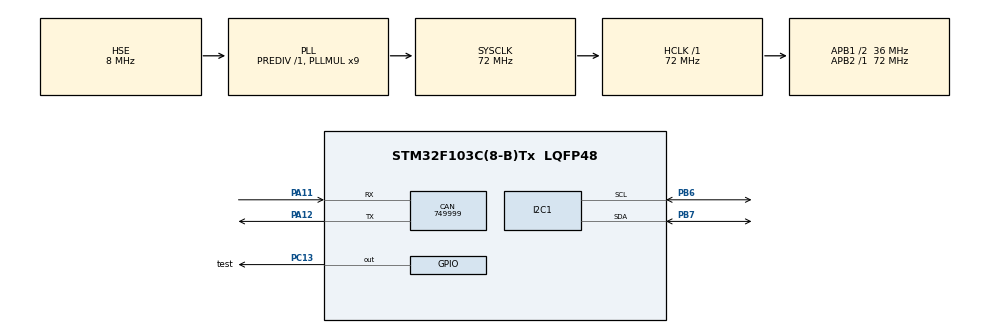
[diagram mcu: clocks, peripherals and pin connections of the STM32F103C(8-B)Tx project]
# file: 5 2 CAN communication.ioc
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CAN.CalculateBaudRate=749999
CAN.CalculateTimeBit=1333
CAN.CalculateTimeQuantum=444.44444444444446
CAN.Mode=CAN_MODE_LOOPBACK
FREERTOS.Tasks01=defaultTask,24,128,StartDefaultTask,Default,NULL,Dynamic,NULL,NULL
I2C1.I2C_Mode=I2C_Fast
Mcu.Family=STM32F1
Mcu.Name=STM32F103C(8-B)Tx
Mcu.Package=LQFP48
NVIC.PriorityGroup=NVIC_PRIORITYGROUP_4
NVIC.TIM1_UP_IRQn=true\:5\:0\:false\:false\:true\:true\:true\:true\:true
NVIC.TIM4_IRQn=true\:15\:0\:false\:false\:true\:false\:false\:true\:true
NVIC.TimeBase=TIM4_IRQn
NVIC.TimeBaseIP=TIM4
NVIC.USB_LP_CAN1_RX0_IRQn=true\:5\:0\:false\:false\:true\:true\:true\:true\:true
PA11.Mode=CAN_Activate
PA11.Signal=CAN_RX
PA12.Mode=CAN_Activate
PA12.Signal=CAN_TX
PA13.Mode=Serial_Wire
PA13.Signal=SYS_JTMS-SWDIO
PA14.Mode=Serial_Wire
PA14.Signal=SYS_JTCK-SWCLK
PB6.Mode=I2C
PB6.Signal=I2C1_SCL
PB7.Mode=I2C
PB7.Signal=I2C1_SDA
PC13-TAMPER-RTC.GPIO_Label=test
PC13-TAMPER-RTC.PinState=GPIO_PIN_SET
PC13-TAMPER-RTC.Signal=GPIO_Output
PC14-OSC32_IN.Mode=LSE-External-Oscillator
PC14-OSC32_IN.Signal=RCC_OSC32_IN
PC15-OSC32_OUT.Mode=LSE-External-Oscillator
PC15-OSC32_OUT.Signal=RCC_OSC32_OUT
PD0-OSC_IN.Mode=HSE-External-Oscillator
PD0-OSC_IN.Signal=RCC_OSC_IN
PD1-OSC_OUT.Mode=HSE-External-Oscillator
PD1-OSC_OUT.Signal=RCC_OSC_OUT
ProjectManager.HeapSize=0x200
ProjectManager.StackSize=0x400
ProjectManager.TargetToolchain=MDK-ARM V5.32
RCC.AHBFreq_Value=72000000
RCC.APB1CLKDivider=RCC_HCLK_DIV2
RCC.APB1Freq_Value=36000000
RCC.APB1TimFreq_Value=72000000
RCC.APB2Freq_Value=72000000
RCC.APB2TimFreq_Value=72000000
RCC.HCLKFreq_Value=72000000
RCC.PLLMUL=RCC_PLL_MUL9
RCC.PLLSourceVirtual=RCC_PLLSOURCE_HSE
RCC.SYSCLKFreq_VALUE=72000000
RCC.SYSCLKSource=RCC_SYSCLKSOURCE_PLLCLK
RCC.USBFreq_Value=72000000
TIM1.Period=1000-1
TIM1.Prescaler=72-1
VP_FREERTOS_VS_CMSIS_V2.Mode=CMSIS_V2
VP_SYS_VS_tim4.Mode=TIM4
VP_TIM1_VS_ClockSourceINT.Mode=Internal
board=custom

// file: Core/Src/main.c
/* USER CODE BEGIN Header */
/**
  ******************************************************************************
  * @file           : main.c
  * @brief          : Main program body
  ******************************************************************************
  * @attention
  *
  * Copyright (c) 2025 STMicroelectronics.
  * All rights reserved.
  *
  * This software is licensed under terms that can be found in the LICENSE file
  * in the root directory of this software component.
  * If no LICENSE file comes with this software, it is provided AS-IS.
  *
  ******************************************************************************
  */
/* USER CODE END Header */
#include "main.h"
#include "cmsis_os.h"
#include "can.h"
#include "i2c.h"
#include "tim.h"
#include "gpio.h"

void SystemClock_Config(void);
void MX_FREERTOS_Init(void);

int main(void)
{

  /* MCU Configuration--------------------------------------------------------*/

  /* Reset of all peripherals, Initializes the Flash interface and the Systick. */
  HAL_Init();

  /* Configure the system clock */
  SystemClock_Config();

  /* Initialize all configured peripherals */
  MX_GPIO_Init();
  MX_CAN_Init();
  MX_I2C1_Init();
  MX_TIM1_Init();

  /* Init scheduler */
  osKernelInitialize();  /* Call init function for freertos objects (in cmsis_os2.c) */
  MX_FREERTOS_Init();

  /* Start scheduler */
  osKernelStart();

  /* We should never get here as control is now taken by the scheduler */

  /* Infinite loop */
  while (1)
  {

  }
}

void SystemClock_Config(void)
{
  RCC_OscInitTypeDef RCC_OscInitStruct = {0};
  RCC_ClkInitTypeDef RCC_ClkInitStruct = {0};

  /** Initializes the RCC Oscillators according to the specified parameters
  * in the RCC_OscInitTypeDef structure.
  */
  RCC_OscInitStruct.OscillatorType = RCC_OSCILLATORTYPE_HSE;
  RCC_OscInitStruct.HSEState = RCC_HSE_ON;
  RCC_OscInitStruct.HSEPredivValue = RCC_HSE_PREDIV_DIV1;
  RCC_OscInitStruct.HSIState = RCC_HSI_ON;
  RCC_OscInitStruct.PLL.PLLState = RCC_PLL_ON;
  RCC_OscInitStruct.PLL.PLLSource = RCC_PLLSOURCE_HSE;
  RCC_OscInitStruct.PLL.PLLMUL = RCC_PLL_MUL9;
  if (HAL_RCC_OscConfig(&RCC_OscInitStruct) != HAL_OK)
  {
    Error_Handler();
  }

  /** Initializes the CPU, AHB and APB buses clocks
  */
  RCC_ClkInitStruct.ClockType = RCC_CLOCKTYPE_HCLK|RCC_CLOCKTYPE_SYSCLK
                              |RCC_CLOCKTYPE_PCLK1|RCC_CLOCKTYPE_PCLK2;
  RCC_ClkInitStruct.SYSCLKSource = RCC_SYSCLKSOURCE_PLLCLK;
  RCC_ClkInitStruct.AHBCLKDivider = RCC_SYSCLK_DIV1;
  RCC_ClkInitStruct.APB1CLKDivider = RCC_HCLK_DIV2;
  RCC_ClkInitStruct.APB2CLKDivider = RCC_HCLK_DIV1;

  if (HAL_RCC_ClockConfig(&RCC_ClkInitStruct, FLASH_LATENCY_2) != HAL_OK)
  {
    Error_Handler();
  }
}

void Error_Handler(void)
{
  __disable_irq();
  while (1)
  {
  }
}

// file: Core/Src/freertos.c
/* USER CODE BEGIN Header */
/**
  ******************************************************************************
  * File Name          : freertos.c
  * Description        : Code for freertos applications
  ******************************************************************************
  * @attention
  *
  * Copyright (c) 2025 STMicroelectronics.
  * All rights reserved.
  *
  * This software is licensed under terms that can be found in the LICENSE file
  * in the root directory of this software component.
  * If no LICENSE file comes with this software, it is provided AS-IS.
  *
  ******************************************************************************
  */
/* USER CODE END Header */

#include "FreeRTOS.h"
#include "task.h"
#include "main.h"
#include "cmsis_os.h"

/* USER CODE BEGIN Includes */
#include "data.h"
#include "screen.h"
#include "can_user.h"
#include "string.h"
#include "stdio.h"
#include "tim.h"
/* USER CODE END Includes */

/* USER CODE BEGIN PTD */
void OLEDTask(void *ptr);
/* USER CODE END PTD */

/* USER CODE BEGIN Variables */
osThreadId_t OLEDTaskHandle;
/* USER CODE END Variables */
/* Definitions for defaultTask */
osThreadId_t defaultTaskHandle;
const osThreadAttr_t defaultTask_attributes = {
  .name = "defaultTask",
  .stack_size = 128 * 4,
  .priority = (osPriority_t) osPriorityNormal,
};

void StartDefaultTask(void *argument);

void MX_FREERTOS_Init(void); /* (MISRA C 2004 rule 8.1) */

void MX_FREERTOS_Init(void) {
  /* USER CODE BEGIN Init */
  OLED_Init();
  OLED_CLS();
  HAL_CAN_Start(&hcan);
  CAN_Filter_Config_Mode();
  HAL_CAN_ActivateNotification(&hcan,CAN_IT_RX_FIFO0_MSG_PENDING);
  HAL_TIM_Base_Start_IT(&htim1);
  /* USER CODE END Init */

  /* Create the thread(s) */
  /* creation of defaultTask */
  defaultTaskHandle = osThreadNew(StartDefaultTask, NULL, &defaultTask_attributes);

  /* USER CODE BEGIN RTOS_THREADS */
  OLEDTaskHandle = osThreadNew(OLEDTask,NULL,&(osThreadAttr_t){
    .name = "OLED",
    .stack_size = 1024,
    .priority = osPriorityNormal,
  });

  /* USER CODE END RTOS_THREADS */

}

void StartDefaultTask(void *argument)
{
  for(;;)
  {
    osDelay(1);
  }
}

/* USER CODE BEGIN Application */
void OLEDTask(void *ptr){
  while(1){
    static char charbuff[32]={0};

    sprintf(charbuff,"RXID:0x%03X",RXID);
    OLED_ShowString(0,0,charbuff);
    sprintf(charbuff,"LENGTH:%d",RXLENG);
    OLED_ShowString(0,2,charbuff);
    sprintf(charbuff,"D:%02X %02X %02X %02X",Rx_data[0],Rx_data[1],Rx_data[2],Rx_data[3]);
    OLED_ShowString(0,4,charbuff);
  }
}

void HAL_TIM_PeriodElapsedCallback(TIM_HandleTypeDef *htim)
{
  /* USER CODE BEGIN Callback 0 */

  /* USER CODE END Callback 0 */
  if (htim->Instance == TIM4)
  {
    HAL_IncTick();
  }
  /* USER CODE BEGIN Callback 1 */
  if (htim ->Instance == TIM1){
    static uint16_t count = 1;
    static uint32_t ID = 0x0;
    count++;
    if (count >= 500){
    HAL_GPIO_TogglePin(GPIOC,test_Pin);
    count = 0;
    uint8_t temp[8] = {ID & 0xFF};
    CAN_Send(ID, temp, 1);
    ID++;
    }
  }
  /* USER CODE END Callback 1 */
}

void HAL_CAN_RxFifo0MsgPendingCallback(CAN_HandleTypeDef *hcan){
  CAN_Receive(&RXID,Rx_data,&RXLENG);
}
/* USER CODE END Application */
